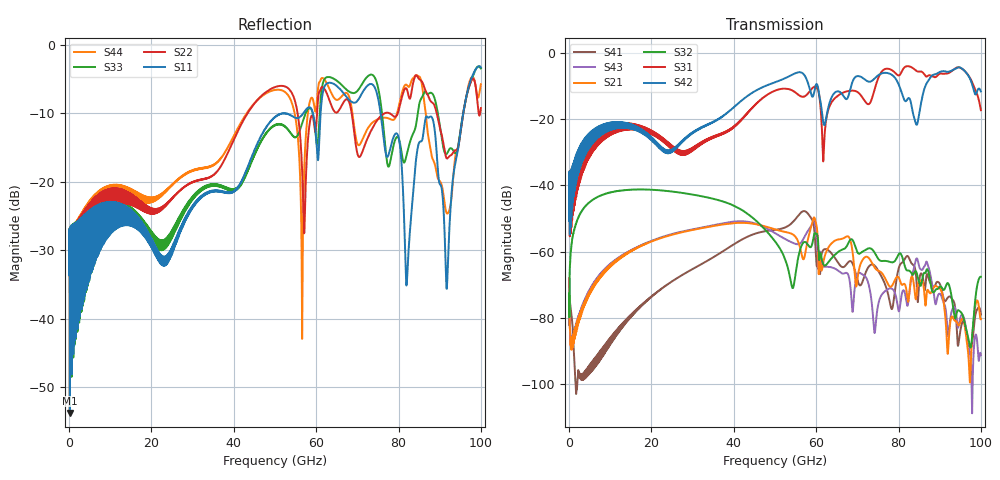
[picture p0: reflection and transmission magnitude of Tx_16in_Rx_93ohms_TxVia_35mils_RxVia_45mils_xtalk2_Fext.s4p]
! Info: Touchstone file created by Circ.  Input file=Tx_16in_Rx_93ohms_TxVia_35mils_RxVia_45mils.circ
# Hz S RI R 50
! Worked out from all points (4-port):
!   10000 points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, 10 MHz to 100 GHz, reference 50 ohm
!   strongest paths, dB at 10 MHz, 25.01 GHz, 50.01 GHz, 75.01 GHz, 100 GHz:
!     S42: -50.7, -29.7, -8.9, -6.9, -11.7
!     S31: -50.7, -29.1, -11.4, -7.9, -17.3
!     S32: -72.7, -41.9, -56.9, -62.0, -67.5
!     S21: -68.1, -54.9, -53.3, -65.7, -80.3
!     S43: -68.1, -54.7, -54.4, -76.3, -91.2
!     S41: -82.1, -69.0, -53.4, -65.6, -79.0
!   lowest |S11| = -53.8 dB at 200 MHz (marker M1), VSWR 1.00, Z = 49.8 + j0.0229 ohm
!   |S11| at or under -10 dB: start of sweep to 51.81 GHz; 52.63 GHz to 56.87 GHz (4.24 GHz wide, 7.74 % of centre); 75.64 GHz to 95.73 GHz (20.08 GHz wide, 23.4 % of centre)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
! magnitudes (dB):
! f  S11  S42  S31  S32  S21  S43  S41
! 10 MHz  -33.6  -50.7  -50.7  -72.7  -68.1  -68.1  -82.1
! 200 MHz  -53.8  -47.1  -47.1  -64.4  -83.4  -83.1  -75.1
! 12.6 GHz  -26.5  -22.5  -23.4  -41.5  -61.6  -61.4  -83.3
! 57.04 GHz  -9.9  -6.6  -13.2  -57.1  -62.1  -55.9  -47.8
! 84.5 GHz  -15.6  -21.6  -5.6  -66.8  -71.8  -62.1  -71.9
! 91.74 GHz  -35.5  -5.8  -6.3  -69.7  -87.0  -80.9  -74.2
! 100 GHz  -3.3  -11.7  -17.3  -67.5  -80.3  -91.2  -79.0
